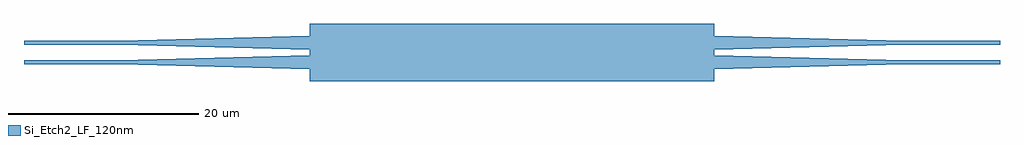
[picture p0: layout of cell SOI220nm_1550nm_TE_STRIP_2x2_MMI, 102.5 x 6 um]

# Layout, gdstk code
import gdstk
lib = gdstk.Library(unit=1e-6, precision=1e-09)
def R(c, l, rs):  # rectangles x0, y0, x1, y1
    for r in rs: c.add(gdstk.rectangle(r[:2], r[2:], *l))
def P(c, l, *ps):  # polygons
    for p in ps: c.add(gdstk.Polygon(p, *l))
Si_Etch2_LF_120nm = (3, 0)

soi220nm_1550nm_te_strip = lib.new_cell('SOI220nm_1550nm_TE_STRIP_2x2_MMI')
R(soi220nm_1550nm_te_strip, Si_Etch2_LF_120nm, [(-21.25,-3,21.25,3), (-51.25,-1.24,-41.25,-0.79), (41.25,-1.24,51.25,-0.79), (-51.25,0.79,-41.25,1.24), (41.25,0.79,51.25,1.24)])
P(soi220nm_1550nm_te_strip, Si_Etch2_LF_120nm, [(-21.25,0.265),(-41.25,0.79),(-41.25,1.24),(-21.25,1.765)],
  [(-21.25,-1.765),(-41.25,-1.24),(-41.25,-0.79),(-21.25,-0.265)],
  [(21.25,0.265),(21.25,1.765),(41.25,1.24),(41.25,0.79)],
  [(21.25,-1.765),(21.25,-0.265),(41.25,-0.79),(41.25,-1.24)])

lib.write_gds('SOI220nm_1550nm_TE_STRIP_2x2_MMI.gds')
